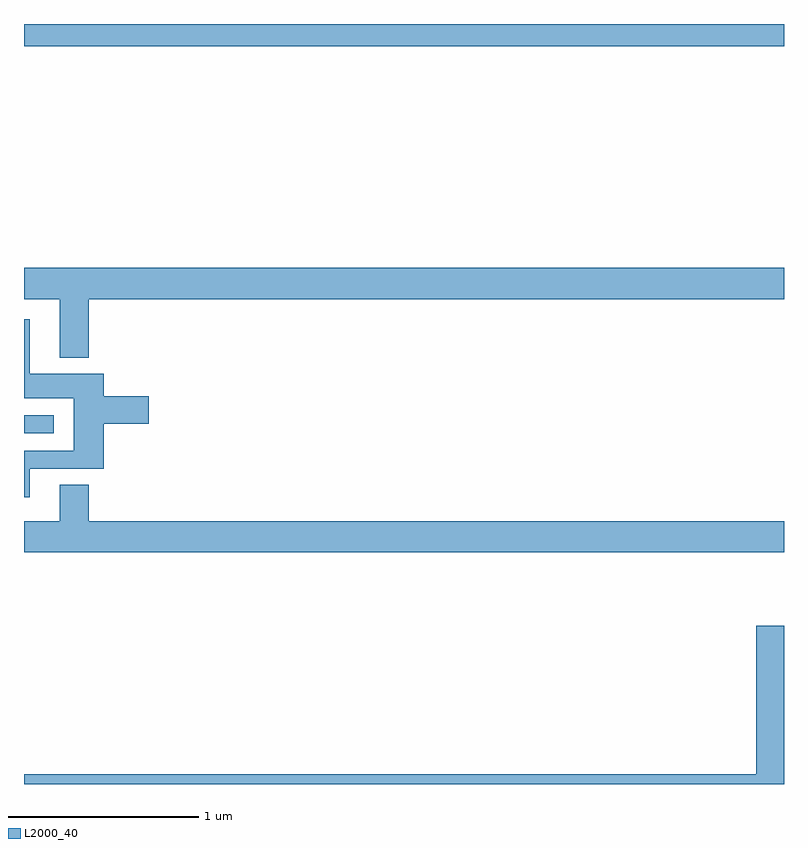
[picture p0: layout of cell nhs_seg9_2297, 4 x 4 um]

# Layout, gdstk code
import gdstk
lib = gdstk.Library(unit=1e-6, precision=1e-09)
def R(c, l, rs):  # rectangles x0, y0, x1, y1
    for r in rs: c.add(gdstk.rectangle(r[:2], r[2:], *l))
def P(c, l, *ps):  # polygons
    for p in ps: c.add(gdstk.Polygon(p, *l))
L2000_40 = (2000, 40)

nhs_seg9_2297 = lib.new_cell('nhs_seg9_2297')
R(nhs_seg9_2297, L2000_40, [(241,1230.345,241.156,1230.441), (241,1232.384,245,1232.5)])
P(nhs_seg9_2297, L2000_40, [(241.34,1231.052),(245,1231.052),(245,1231.216),(241,1231.216),(241,1231.052),(241.187,1231.052),(241.187,1230.743),(241.34,1230.743)],
  [(241.03,1230.159),(241.421,1230.159),(241.421,1230.395),(241.657,1230.395),(241.657,1230.542),(241.421,1230.542),(241.421,1230.658),(241.03,1230.658),(241.03,1230.946),(241,1230.946),(241,1230.53),(241.262,1230.53),(241.262,1230.255),(241,1230.255),(241,1230.009),(241.03,1230.009)],
  [(245,1229.884),(241.34,1229.884),(241.34,1230.074),(241.187,1230.074),(241.187,1229.884),(241,1229.884),(241,1229.72),(245,1229.72)],
  [(245,1229.332),(244.853,1229.332),(244.853,1228.552),(241,1228.552),(241,1228.5),(245,1228.5)])

lib.write_gds('nhs_seg9_2297.gds')
